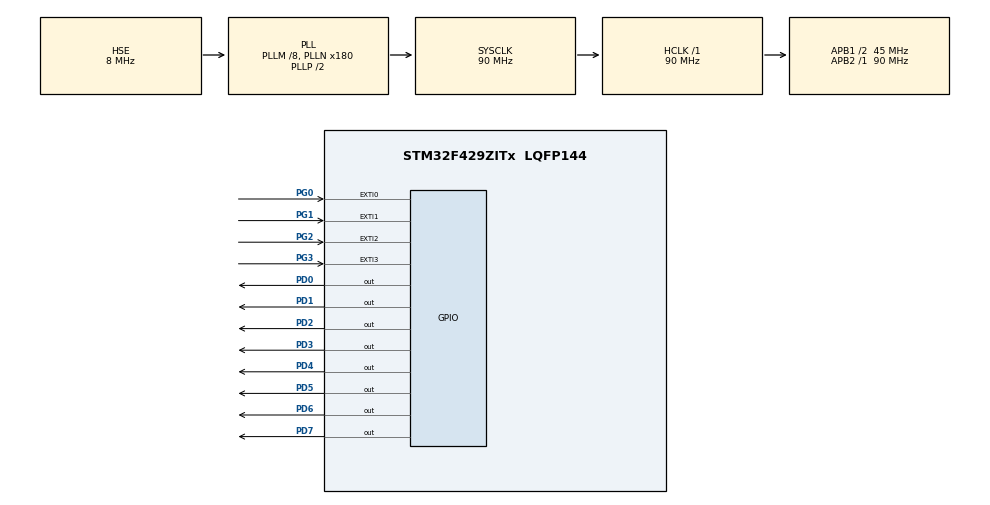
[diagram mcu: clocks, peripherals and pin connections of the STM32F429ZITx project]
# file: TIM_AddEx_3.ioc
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Mcu.Family=STM32F4
Mcu.Name=STM32F429ZITx
Mcu.Package=LQFP144
NVIC.EXTI0_IRQn=true\:0\:0\:false\:false\:true\:true\:true\:true
NVIC.EXTI1_IRQn=true\:0\:0\:false\:false\:true\:true\:true\:true
NVIC.EXTI2_IRQn=true\:0\:0\:false\:false\:true\:true\:true\:true
NVIC.EXTI3_IRQn=true\:0\:0\:false\:false\:true\:true\:true\:true
NVIC.PriorityGroup=NVIC_PRIORITYGROUP_4
NVIC.TIM2_IRQn=true\:0\:0\:false\:false\:true\:true\:true\:true
NVIC.TIM3_IRQn=true\:0\:0\:false\:false\:true\:true\:true\:true
NVIC.TIM6_DAC_IRQn=true\:0\:0\:false\:false\:true\:true\:true\:true
PA13.Mode=Serial_Wire
PA13.Signal=SYS_JTMS-SWDIO
PA14.Mode=Serial_Wire
PA14.Signal=SYS_JTCK-SWCLK
PD0.GPIO_ModeDefaultOutputPP=GPIO_MODE_OUTPUT_PP
PD0.GPIO_PuPd=GPIO_PULLUP
PD0.GPIO_Speed=GPIO_SPEED_FREQ_HIGH
PD0.PinState=GPIO_PIN_RESET
PD0.Signal=GPIO_Output
PD1.GPIO_ModeDefaultOutputPP=GPIO_MODE_OUTPUT_PP
PD1.GPIO_PuPd=GPIO_PULLUP
PD1.GPIO_Speed=GPIO_SPEED_FREQ_HIGH
PD1.PinState=GPIO_PIN_RESET
PD1.Signal=GPIO_Output
PD2.GPIO_ModeDefaultOutputPP=GPIO_MODE_OUTPUT_PP
PD2.GPIO_PuPd=GPIO_PULLUP
PD2.GPIO_Speed=GPIO_SPEED_FREQ_HIGH
PD2.PinState=GPIO_PIN_RESET
PD2.Signal=GPIO_Output
PD3.GPIO_ModeDefaultOutputPP=GPIO_MODE_OUTPUT_PP
PD3.GPIO_PuPd=GPIO_PULLUP
PD3.GPIO_Speed=GPIO_SPEED_FREQ_HIGH
PD3.PinState=GPIO_PIN_RESET
PD3.Signal=GPIO_Output
PD4.GPIO_ModeDefaultOutputPP=GPIO_MODE_OUTPUT_PP
PD4.GPIO_PuPd=GPIO_PULLUP
PD4.GPIO_Speed=GPIO_SPEED_FREQ_HIGH
PD4.PinState=GPIO_PIN_RESET
PD4.Signal=GPIO_Output
PD5.GPIO_ModeDefaultOutputPP=GPIO_MODE_OUTPUT_PP
PD5.GPIO_PuPd=GPIO_PULLUP
PD5.GPIO_Speed=GPIO_SPEED_FREQ_HIGH
PD5.PinState=GPIO_PIN_RESET
PD5.Signal=GPIO_Output
PD6.GPIO_ModeDefaultOutputPP=GPIO_MODE_OUTPUT_PP
PD6.GPIO_PuPd=GPIO_PULLUP
PD6.GPIO_Speed=GPIO_SPEED_FREQ_HIGH
PD6.PinState=GPIO_PIN_RESET
PD6.Signal=GPIO_Output
PD7.GPIO_ModeDefaultOutputPP=GPIO_MODE_OUTPUT_PP
PD7.GPIO_PuPd=GPIO_PULLUP
PD7.GPIO_Speed=GPIO_SPEED_FREQ_HIGH
PD7.PinState=GPIO_PIN_RESET
PD7.Signal=GPIO_Output
PG0.GPIO_ModeDefaultEXTI=GPIO_MODE_IT_FALLING
PG0.GPIO_PuPd=GPIO_NOPULL
PG0.Signal=GPXTI0
PG1.GPIO_ModeDefaultEXTI=GPIO_MODE_IT_FALLING
PG1.GPIO_PuPd=GPIO_NOPULL
PG1.Signal=GPXTI1
PG2.GPIO_ModeDefaultEXTI=GPIO_MODE_IT_FALLING
PG2.GPIO_PuPd=GPIO_NOPULL
PG2.Signal=GPXTI2
PG3.GPIO_ModeDefaultEXTI=GPIO_MODE_IT_FALLING
PG3.GPIO_PuPd=GPIO_NOPULL
PG3.Signal=GPXTI3
PH0/OSC_IN.Mode=HSE-External-Clock-Source
PH0/OSC_IN.Signal=RCC_OSC_IN
PH1/OSC_OUT.Mode=HSE-External-Clock-Source
PH1/OSC_OUT.Signal=RCC_OSC_OUT
ProjectManager.HeapSize=0x200
ProjectManager.StackSize=0x400
ProjectManager.TargetToolchain=STM32CubeIDE
RCC.48MHZClocksFreq_Value=45000000
RCC.AHBFreq_Value=90000000
RCC.APB1CLKDivider=RCC_HCLK_DIV2
RCC.APB1Freq_Value=45000000
RCC.APB1TimFreq_Value=90000000
RCC.APB2Freq_Value=90000000
RCC.APB2TimFreq_Value=90000000
RCC.CortexFreq_Value=90000000
RCC.HCLKFreq_Value=90000000
RCC.HSE_VALUE=8000000
RCC.HSI_VALUE=16000000
RCC.LSE_VALUE=32768
RCC.PLLM=8
RCC.PLLN=180
RCC.PLLSourceVirtual=RCC_PLLSOURCE_HSE
RCC.SYSCLKFreq_VALUE=90000000
RCC.SYSCLKSource=RCC_SYSCLKSOURCE_PLLCLK
RCC.VCOOutputFreq_Value=180000000
TIM2.Period=9
TIM2.Prescaler=8999
TIM3.Period=9
TIM3.Prescaler=8999
TIM6.Period=9
TIM6.Prescaler=8999
VP_TIM2_VS_ClockSourceINT.Mode=Internal
VP_TIM3_VS_ClockSourceINT.Mode=Internal
VP_TIM6_VS_ClockSourceINT.Mode=Enable_Timer
board=custom

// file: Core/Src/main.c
/* USER CODE BEGIN Header */
/**
  ******************************************************************************
  * @file           : main.c
  * @brief          : Main program body
  ******************************************************************************
  * @attention
  *
  * Copyright (c) 2023 STMicroelectronics.
  * All rights reserved.
  *
  * This software is licensed under terms that can be found in the LICENSE file
  * in the root directory of this software component.
  * If no LICENSE file comes with this software, it is provided AS-IS.
  *
  ******************************************************************************
  */
/* USER CODE END Header */
#include "main.h"

TIM_HandleTypeDef htim2;
TIM_HandleTypeDef htim3;
TIM_HandleTypeDef htim6;

/* USER CODE BEGIN PV */

int led_period_TIM_3 = 1001, led_period_TIM_6 = 1001;
int cnt_TIM_3 = 0, cnt_TIM_6 = 0;
int dir_TIM_3 = 0, dir_TIM_6 = 0;
int flag_TIM_3 = 0, flag_TIM_6 = 0;
int flag_TIM_3_1 = 0, flag_TIM_3_2 = 0, flag_TIM_3_3 = 0, flag_TIM_3_4 = 0, flag_TIM_3_5 = 0, flag_TIM_3_6 = 0, flag_TIM_3_7 = 0, flag_TIM_3_8 = 0;
int flag_TIM_6_1 = 0, flag_TIM_6_2 = 0, flag_TIM_6_3 = 0, flag_TIM_6_4 = 0, flag_TIM_6_5 = 0, flag_TIM_6_6 = 0, flag_TIM_6_7 = 0, flag_TIM_6_8 = 0;
uint16_t LED_TIM3 = 0x0001, LED_TIM6 = 0x0080;
uint16_t LED_pre_TIM3 = 0x00, LED_cur_TIM3 = 0x00;
uint16_t LED_pre_TIM6 = 0x00, LED_cur_TIM6 = 0x00;

/* USER CODE END PV */

void SystemClock_Config(void);
static void MX_GPIO_Init(void);
static void MX_TIM2_Init(void);
static void MX_TIM3_Init(void);
static void MX_TIM6_Init(void);
/* USER CODE BEGIN PFP */

void LED_OnOff(int, int);

/* USER CODE END PFP */

int main(void)
{

  /* MCU Configuration--------------------------------------------------------*/

  /* Reset of all peripherals, Initializes the Flash interface and the Systick. */
  HAL_Init();

  /* Configure the system clock */
  SystemClock_Config();

  /* Initialize all configured peripherals */
  MX_GPIO_Init();
  MX_TIM2_Init();
  MX_TIM3_Init();
  MX_TIM6_Init();
  /* USER CODE BEGIN 2 */

  LED_OnOff(LED_ALL, 500);
  HAL_TIM_Base_Start_IT(&htim2);
  HAL_TIM_Base_Start_IT(&htim3);
  HAL_TIM_Base_Start_IT(&htim6);

  /* USER CODE END 2 */

  /* Infinite loop */
  /* USER CODE BEGIN WHILE */
  while (1)
  {

	  if (flag_TIM_3==1){
//		  LED_cur = LED_TIM3 + LED_TIM6;
		  HAL_GPIO_TogglePin(GPIO_LED, LED_pre_TIM3);
		  HAL_GPIO_TogglePin(GPIO_LED, LED_TIM3);
		  flag_TIM_3 = 0;
		  LED_pre_TIM3 = LED_TIM3;
	  }
	  if (flag_TIM_6==1){
		  HAL_GPIO_TogglePin(GPIO_LED, LED_pre_TIM6);
		  HAL_GPIO_TogglePin(GPIO_LED, LED_TIM6);
		  flag_TIM_6 = 0;
		  LED_pre_TIM6 = LED_TIM6;
	  }

    /* USER CODE END WHILE */

  }
}

void SystemClock_Config(void)
{
  RCC_OscInitTypeDef RCC_OscInitStruct = {0};
  RCC_ClkInitTypeDef RCC_ClkInitStruct = {0};

  /** Configure the main internal regulator output voltage
  */
  __HAL_RCC_PWR_CLK_ENABLE();
  __HAL_PWR_VOLTAGESCALING_CONFIG(PWR_REGULATOR_VOLTAGE_SCALE3);

  /** Initializes the RCC Oscillators according to the specified parameters
  * in the RCC_OscInitTypeDef structure.
  */
  RCC_OscInitStruct.OscillatorType = RCC_OSCILLATORTYPE_HSE;
  RCC_OscInitStruct.HSEState = RCC_HSE_BYPASS;
  RCC_OscInitStruct.PLL.PLLState = RCC_PLL_ON;
  RCC_OscInitStruct.PLL.PLLSource = RCC_PLLSOURCE_HSE;
  RCC_OscInitStruct.PLL.PLLM = 8;
  RCC_OscInitStruct.PLL.PLLN = 180;
  RCC_OscInitStruct.PLL.PLLP = RCC_PLLP_DIV2;
  RCC_OscInitStruct.PLL.PLLQ = 4;
  if (HAL_RCC_OscConfig(&RCC_OscInitStruct) != HAL_OK)
  {
    Error_Handler();
  }

  /** Activate the Over-Drive mode
  */
  if (HAL_PWREx_EnableOverDrive() != HAL_OK)
  {
    Error_Handler();
  }

  /** Initializes the CPU, AHB and APB buses clocks
  */
  RCC_ClkInitStruct.ClockType = RCC_CLOCKTYPE_HCLK|RCC_CLOCKTYPE_SYSCLK
                              |RCC_CLOCKTYPE_PCLK1|RCC_CLOCKTYPE_PCLK2;
  RCC_ClkInitStruct.SYSCLKSource = RCC_SYSCLKSOURCE_PLLCLK;
  RCC_ClkInitStruct.AHBCLKDivider = RCC_SYSCLK_DIV1;
  RCC_ClkInitStruct.APB1CLKDivider = RCC_HCLK_DIV2;
  RCC_ClkInitStruct.APB2CLKDivider = RCC_HCLK_DIV1;

  if (HAL_RCC_ClockConfig(&RCC_ClkInitStruct, FLASH_LATENCY_2) != HAL_OK)
  {
    Error_Handler();
  }
}

static void MX_TIM2_Init(void)
{

  TIM_ClockConfigTypeDef sClockSourceConfig = {0};
  TIM_MasterConfigTypeDef sMasterConfig = {0};

  htim2.Instance = TIM2;
  htim2.Init.Prescaler = 8999;
  htim2.Init.CounterMode = TIM_COUNTERMODE_UP;
  htim2.Init.Period = 9;
  htim2.Init.ClockDivision = TIM_CLOCKDIVISION_DIV1;
  htim2.Init.AutoReloadPreload = TIM_AUTORELOAD_PRELOAD_DISABLE;
  if (HAL_TIM_Base_Init(&htim2) != HAL_OK)
  {
    Error_Handler();
  }
  sClockSourceConfig.ClockSource = TIM_CLOCKSOURCE_INTERNAL;
  if (HAL_TIM_ConfigClockSource(&htim2, &sClockSourceConfig) != HAL_OK)
  {
    Error_Handler();
  }
  sMasterConfig.MasterOutputTrigger = TIM_TRGO_RESET;
  sMasterConfig.MasterSlaveMode = TIM_MASTERSLAVEMODE_DISABLE;
  if (HAL_TIMEx_MasterConfigSynchronization(&htim2, &sMasterConfig) != HAL_OK)
  {
    Error_Handler();
  }

}

static void MX_TIM3_Init(void)
{

  TIM_ClockConfigTypeDef sClockSourceConfig = {0};
  TIM_MasterConfigTypeDef sMasterConfig = {0};

  htim3.Instance = TIM3;
  htim3.Init.Prescaler = 8999;
  htim3.Init.CounterMode = TIM_COUNTERMODE_UP;
  htim3.Init.Period = 9;
  htim3.Init.ClockDivision = TIM_CLOCKDIVISION_DIV1;
  htim3.Init.AutoReloadPreload = TIM_AUTORELOAD_PRELOAD_DISABLE;
  if (HAL_TIM_Base_Init(&htim3) != HAL_OK)
  {
    Error_Handler();
  }
  sClockSourceConfig.ClockSource = TIM_CLOCKSOURCE_INTERNAL;
  if (HAL_TIM_ConfigClockSource(&htim3, &sClockSourceConfig) != HAL_OK)
  {
    Error_Handler();
  }
  sMasterConfig.MasterOutputTrigger = TIM_TRGO_RESET;
  sMasterConfig.MasterSlaveMode = TIM_MASTERSLAVEMODE_DISABLE;
  if (HAL_TIMEx_MasterConfigSynchronization(&htim3, &sMasterConfig) != HAL_OK)
  {
    Error_Handler();
  }

}

static void MX_TIM6_Init(void)
{

  TIM_MasterConfigTypeDef sMasterConfig = {0};

  htim6.Instance = TIM6;
  htim6.Init.Prescaler = 8999;
  htim6.Init.CounterMode = TIM_COUNTERMODE_UP;
  htim6.Init.Period = 9;
  htim6.Init.AutoReloadPreload = TIM_AUTORELOAD_PRELOAD_DISABLE;
  if (HAL_TIM_Base_Init(&htim6) != HAL_OK)
  {
    Error_Handler();
  }
  sMasterConfig.MasterOutputTrigger = TIM_TRGO_RESET;
  sMasterConfig.MasterSlaveMode = TIM_MASTERSLAVEMODE_DISABLE;
  if (HAL_TIMEx_MasterConfigSynchronization(&htim6, &sMasterConfig) != HAL_OK)
  {
    Error_Handler();
  }

}

static void MX_GPIO_Init(void)
{
  GPIO_InitTypeDef GPIO_InitStruct = {0};

  /* GPIO Ports Clock Enable */
  __HAL_RCC_GPIOH_CLK_ENABLE();
  __HAL_RCC_GPIOG_CLK_ENABLE();
  __HAL_RCC_GPIOA_CLK_ENABLE();
  __HAL_RCC_GPIOD_CLK_ENABLE();

  /*Configure GPIO pin Output Level */
  HAL_GPIO_WritePin(GPIOD, GPIO_PIN_0|GPIO_PIN_1|GPIO_PIN_2|GPIO_PIN_3
                          |GPIO_PIN_4|GPIO_PIN_5|GPIO_PIN_6|GPIO_PIN_7, GPIO_PIN_RESET);

  /*Configure GPIO pins : PG0 PG1 PG2 PG3 */
  GPIO_InitStruct.Pin = GPIO_PIN_0|GPIO_PIN_1|GPIO_PIN_2|GPIO_PIN_3;
  GPIO_InitStruct.Mode = GPIO_MODE_IT_FALLING;
  GPIO_InitStruct.Pull = GPIO_NOPULL;
  HAL_GPIO_Init(GPIOG, &GPIO_InitStruct);

  /*Configure GPIO pins : PD0 PD1 PD2 PD3
                           PD4 PD5 PD6 PD7 */
  GPIO_InitStruct.Pin = GPIO_PIN_0|GPIO_PIN_1|GPIO_PIN_2|GPIO_PIN_3
                          |GPIO_PIN_4|GPIO_PIN_5|GPIO_PIN_6|GPIO_PIN_7;
  GPIO_InitStruct.Mode = GPIO_MODE_OUTPUT_PP;
  GPIO_InitStruct.Pull = GPIO_PULLUP;
  GPIO_InitStruct.Speed = GPIO_SPEED_FREQ_HIGH;
  HAL_GPIO_Init(GPIOD, &GPIO_InitStruct);

  /* EXTI interrupt init*/
  HAL_NVIC_SetPriority(EXTI0_IRQn, 0, 0);
  HAL_NVIC_EnableIRQ(EXTI0_IRQn);

  HAL_NVIC_SetPriority(EXTI1_IRQn, 0, 0);
  HAL_NVIC_EnableIRQ(EXTI1_IRQn);

  HAL_NVIC_SetPriority(EXTI2_IRQn, 0, 0);
  HAL_NVIC_EnableIRQ(EXTI2_IRQn);

  HAL_NVIC_SetPriority(EXTI3_IRQn, 0, 0);
  HAL_NVIC_EnableIRQ(EXTI3_IRQn);

}

/* USER CODE BEGIN 4 */

void LED_OnOff(int led, int interval)
{
	HAL_GPIO_WritePin(GPIO_LED, led, GPIO_PIN_SET );
	HAL_GPIO_WritePin(GPIO_LED_Nucleo, led, GPIO_PIN_SET );
	HAL_Delay(interval);
	HAL_GPIO_WritePin(GPIO_LED, led, GPIO_PIN_RESET );
	HAL_GPIO_WritePin(GPIO_LED_Nucleo, led, GPIO_PIN_RESET );
}
void HAL_TIM_PeriodElapsedCallback(TIM_HandleTypeDef *htim)
{
	if ( htim->Instance == TIM3){
		cnt_TIM_3++;
		if (cnt_TIM_3==led_period_TIM_3){

			if (led_period_TIM_3 >= 1001){
				dir_TIM_3=0;
				led_period_TIM_3 = 801;
			}
			else if (led_period_TIM_3 <= 1){
				dir_TIM_3=1;
				led_period_TIM_3 = 201;
			}

			if ((((flag_TIM_3_1==0)&&(flag_TIM_3_2==0))&&((flag_TIM_3_3==0)&&(flag_TIM_3_4==0)))&&(((flag_TIM_3_5==0)&&(flag_TIM_3_6==0))&&((flag_TIM_3_7==0)&&(flag_TIM_3_8==0)))){
				flag_TIM_3_1 = 1,	flag_TIM_3_2 = 0,	flag_TIM_3_3 = 0,	flag_TIM_3_4 = 0,	flag_TIM_3_5 = 0,	flag_TIM_3_6 = 0,	flag_TIM_3_7 = 0,	flag_TIM_3_8 = 0;
				cnt_TIM_3 = 0;
			}
			else if (flag_TIM_3_1==1){

				flag_TIM_3_1 = 0,	flag_TIM_3_2 = 1,	flag_TIM_3_3 = 0,	flag_TIM_3_4 = 0,	flag_TIM_3_5 = 0,	flag_TIM_3_6 = 0,	flag_TIM_3_7 = 0,	flag_TIM_3_8 = 0;
				cnt_TIM_3 = 0;

			}
			else if (flag_TIM_3_2==1){

				flag_TIM_3_1 = 0,	flag_TIM_3_2 = 0,	flag_TIM_3_3 = 1,	flag_TIM_3_4 = 0,	flag_TIM_3_5 = 0,	flag_TIM_3_6 = 0,	flag_TIM_3_7 = 0,	flag_TIM_3_8 = 0;
				cnt_TIM_3 = 0;

			}
			else if (flag_TIM_3_3==1){

				flag_TIM_3_1 = 0,	flag_TIM_3_2 = 0,	flag_TIM_3_3 = 0,	flag_TIM_3_4 = 1,	flag_TIM_3_5 = 0,	flag_TIM_3_6 = 0,	flag_TIM_3_7 = 0,	flag_TIM_3_8 = 0;
				cnt_TIM_3 = 0;

			}
			else if (flag_TIM_3_4==1){

				flag_TIM_3_1 = 0,	flag_TIM_3_2 = 0,	flag_TIM_3_3 = 0,	flag_TIM_3_4 = 0,	flag_TIM_3_5 = 1,	flag_TIM_3_6 = 0,	flag_TIM_3_7 = 0,	flag_TIM_3_8 = 0;
				cnt_TIM_3 = 0;

			}
			else if (flag_TIM_3_5==1){
				flag_TIM_3_1 = 0,	flag_TIM_3_2 = 0,	flag_TIM_3_3 = 0,	flag_TIM_3_4 = 0,	flag_TIM_3_5 = 0,	flag_TIM_3_6 = 1,	flag_TIM_3_7 = 0,	flag_TIM_3_8 = 0;
				cnt_TIM_3 = 0;

			}
			else if (flag_TIM_3_6==1){

				flag_TIM_3_1 = 0,	flag_TIM_3_2 = 0,	flag_TIM_3_3 = 0,	flag_TIM_3_4 = 0,	flag_TIM_3_5 = 0,	flag_TIM_3_6 = 0,	flag_TIM_3_7 = 1,	flag_TIM_3_8 = 0;
				cnt_TIM_3 = 0;

			}
			else if (flag_TIM_3_7==1){

				flag_TIM_3_1 = 0,	flag_TIM_3_2 = 0,	flag_TIM_3_3 = 0,	flag_TIM_3_4 = 0,	flag_TIM_3_5 = 0,	flag_TIM_3_6 = 0,	flag_TIM_3_7 = 0,	flag_TIM_3_8 = 1;
				cnt_TIM_3 = 0;

			}
			else if (flag_TIM_3_8==1){

				flag_TIM_3_1 = 1,	flag_TIM_3_2 = 0,	flag_TIM_3_3 = 0,	flag_TIM_3_4 = 0,	flag_TIM_3_5 = 0,	flag_TIM_3_6 = 0,	flag_TIM_3_7 = 0,	flag_TIM_3_8 = 0;
				cnt_TIM_3 = 0;
				if (dir_TIM_3 == 0){
					led_period_TIM_3=led_period_TIM_3-100;
				}
				else if (dir_TIM_3 == 1){
					led_period_TIM_3=led_period_TIM_3+100;
				}
			}
/*			if (led_period_TIM_3<=0){
				led_period_TIM_3=1000;
			}*/
		}

		if (flag_TIM_3_1 == 1)	LED_TIM3 = LED1;
		else if (flag_TIM_3_2 == 1)	LED_TIM3 = LED2;
		else if (flag_TIM_3_3 == 1)	LED_TIM3 = LED3;
		else if (flag_TIM_3_4 == 1)	LED_TIM3 = LED4;
		else if (flag_TIM_3_5 == 1)	LED_TIM3 = LED5;
		else if (flag_TIM_3_6 == 1)	LED_TIM3 = LED6;
		else if (flag_TIM_3_7 == 1)	LED_TIM3 = LED7;
		else if (flag_TIM_3_8 == 1)	LED_TIM3 = LED8;

		flag_TIM_3=1;

	}
	if ( htim->Instance == TIM6){
		cnt_TIM_6++;
				if (cnt_TIM_6==led_period_TIM_6){

					if (led_period_TIM_6 >= 1001){
						dir_TIM_6=0;
						led_period_TIM_6 = 801;
					}
					else if (led_period_TIM_6 <= 1){
						dir_TIM_6=1;
						led_period_TIM_6 = 201;
					}

					if ((((flag_TIM_6_1==0)&&(flag_TIM_6_2==0))&&((flag_TIM_6_3==0)&&(flag_TIM_6_4==0)))&&(((flag_TIM_6_5==0)&&(flag_TIM_6_6==0))&&((flag_TIM_6_7==0)&&(flag_TIM_6_8==0)))){

						flag_TIM_6_1 = 0,	flag_TIM_6_2 = 0,	flag_TIM_6_3 = 0,	flag_TIM_6_4 = 0,	flag_TIM_6_5 = 0,	flag_TIM_6_6 = 0,	flag_TIM_6_7 = 0,	flag_TIM_6_8 = 1;
						cnt_TIM_6 = 0;

					}
					else if (flag_TIM_6_8==1){

						flag_TIM_6_1 = 0,	flag_TIM_6_2 = 0,	flag_TIM_6_3 = 0,	flag_TIM_6_4 = 0,	flag_TIM_6_5 = 0,	flag_TIM_6_6 = 0,	flag_TIM_6_7 = 1,	flag_TIM_6_8 = 0;
												cnt_TIM_6 = 0;

					}
					else if (flag_TIM_6_7==1){

						flag_TIM_6_1 = 0,	flag_TIM_6_2 = 0,	flag_TIM_6_3 = 0,	flag_TIM_6_4 = 0,	flag_TIM_6_5 = 0,	flag_TIM_6_6 = 1,	flag_TIM_6_7 = 0,	flag_TIM_6_8 = 0;
												cnt_TIM_6 = 0;

					}
					else if (flag_TIM_6_6==1){

						flag_TIM_6_1 = 0,	flag_TIM_6_2 = 0,	flag_TIM_6_3 = 0,	flag_TIM_6_4 = 0,	flag_TIM_6_5 = 1,	flag_TIM_6_6 = 0,	flag_TIM_6_7 = 0,	flag_TIM_6_8 = 0;
												cnt_TIM_6 = 0;

					}
					else if (flag_TIM_6_5==1){

						flag_TIM_6_1 = 0,	flag_TIM_6_2 = 0,	flag_TIM_6_3 = 0,	flag_TIM_6_4 = 1,	flag_TIM_6_5 = 0,	flag_TIM_6_6 = 0,	flag_TIM_6_7 = 0,	flag_TIM_6_8 = 0;												cnt_TIM_6 = 0;

					}
					else if (flag_TIM_6_4==1){

						flag_TIM_6_1 = 0,	flag_TIM_6_2 = 0,	flag_TIM_6_3 = 1,	flag_TIM_6_4 = 0,	flag_TIM_6_5 = 0,	flag_TIM_6_6 = 0,	flag_TIM_6_7 = 0,	flag_TIM_6_8 = 0;
												cnt_TIM_6 = 0;

					}
					else if (flag_TIM_6_3==1){

						flag_TIM_6_1 = 0,	flag_TIM_6_2 = 1,	flag_TIM_6_3 = 0,	flag_TIM_6_4 = 0,	flag_TIM_6_5 = 0,	flag_TIM_6_6 = 0,	flag_TIM_6_7 = 0,	flag_TIM_6_8 = 0;
												cnt_TIM_6 = 0;

					}
					else if (flag_TIM_6_2==1){

						flag_TIM_6_1 = 1,	flag_TIM_6_2 = 0,	flag_TIM_6_3 = 0,	flag_TIM_6_4 = 0,	flag_TIM_6_5 = 0,	flag_TIM_6_6 = 0,	flag_TIM_6_7 = 0,	flag_TIM_6_8 = 0;
												cnt_TIM_6 = 0;

					}
					else if (flag_TIM_6_1==1){
						flag_TIM_6_1 = 0,	flag_TIM_6_2 = 0,	flag_TIM_6_3 = 0,	flag_TIM_6_4 = 0,	flag_TIM_6_5 = 0,	flag_TIM_6_6 = 0,	flag_TIM_6_7 = 0,	flag_TIM_6_8 = 1;
						cnt_TIM_6 = 0;
						if (dir_TIM_6 == 0){
							led_period_TIM_6=led_period_TIM_6-100;
						}
						else if (dir_TIM_6 == 1){
							led_period_TIM_6=led_period_TIM_6+100;
						}
					}
/*					if (led_period_TIM_6<=0){
						led_period_TIM_6=1000;
					}*/
				}
				if (flag_TIM_6_1 == 1)	LED_TIM6 = LED1;
				else if (flag_TIM_6_2 == 1)	LED_TIM6 = LED2;
				else if (flag_TIM_6_3 == 1)	LED_TIM6 = LED3;
				else if (flag_TIM_6_4 == 1)	LED_TIM6 = LED4;
				else if (flag_TIM_6_5 == 1)	LED_TIM6 = LED5;
				else if (flag_TIM_6_6 == 1)	LED_TIM6 = LED6;
				else if (flag_TIM_6_7 == 1)	LED_TIM6 = LED7;
				else if (flag_TIM_6_8 == 1)	LED_TIM6 = LED8;

				flag_TIM_6=1;
	}

}

/* USER CODE END 4 */

void Error_Handler(void)
{
  __disable_irq();
  while (1)
  {
  }
}
